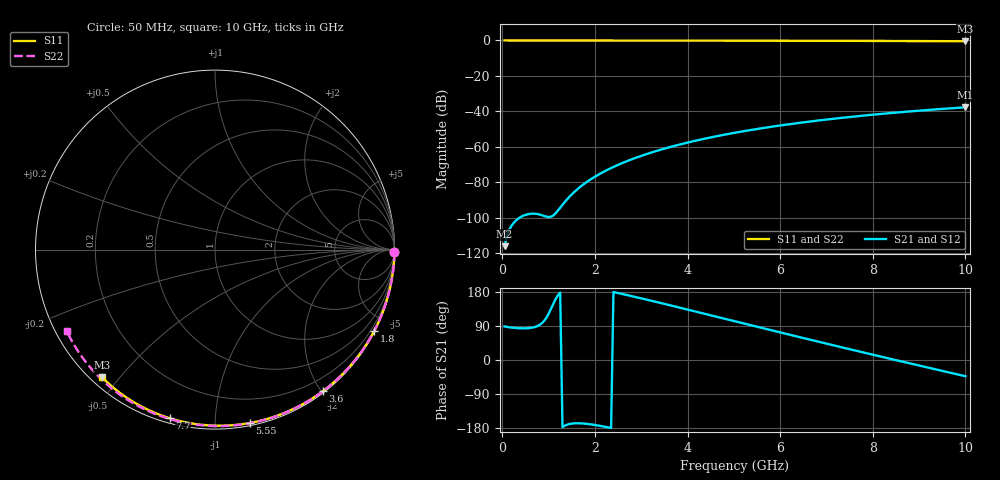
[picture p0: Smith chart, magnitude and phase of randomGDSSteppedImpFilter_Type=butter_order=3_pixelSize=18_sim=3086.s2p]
! freq	dB(S11)	phase(S11)	dB(S12)	phase(S12)
!  dB(S21)	phase(S21)	dB(S22)	phase(S22)
!S-par simulation data
#  GHz  S  DB  R 50
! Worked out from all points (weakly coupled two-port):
!   200 points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, 50 MHz to 10 GHz, reference 50 ohm
!   highest |S21| = -37.74 dB at 10 GHz (marker M1); lowest = -116.1 dB at 50 MHz (marker M2)
!   lowest |S11| = -0.4 dB at 10 GHz (marker M3), VSWR 39.06, Z = 1.54 - j22.5 ohm
!   |S11| at or under -10 dB: nowhere
!   |S22| runs from -0.5 to 0.0 dB; largest |S21 - S12| = 0
!   S11 on the Smith chart (normalised r, x): 50 MHz: open; 1.8 GHz: 0.04, -4.18; 3.6 GHz: 0.02, -2.02; 5.55 GHz: 0.02, -1.22; 7.7 GHz: 0.02, -0.77; 10 GHz: 0.03, -0.45
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0.05  -0.00 -0.8  -116.13 88.5  -116.13 88.5  -0.00 -0.9
0.45  -0.01 -6.8  -98.97 83.5  -98.97 83.5  -0.01 -7.8
0.9  -0.02 -13.6  -99.03 102.6  -99.03 102.6  -0.02 -15.5
1.3  -0.02 -19.6  -92.74 -176.9  -92.74 -176.9  -0.03 -22.4
1.75  -0.03 -26.2  -81.28 -167.6  -81.28 -167.6  -0.04 -29.9
1.8  -0.03 -26.9  -80.33 -168.2  -80.33 -168.2  -0.04 -30.8
1.85  -0.04 -27.7  -79.42 -168.9  -79.42 -168.9  -0.04 -31.6
2  -0.04 -29.9  -76.91 -171.5  -76.91 -171.5  -0.04 -34.1
2.15  -0.04 -32.1  -74.68 -174.6  -74.68 -174.6  -0.05 -36.6
2.5  -0.05 -37.1  -70.23 176.7  -70.23 176.7  -0.05 -42.4
2.9  -0.06 -42.8  -66.07 165.6  -66.07 165.6  -0.06 -48.9
3.4  -0.07 -49.9  -61.81 151.0  -61.81 151.0  -0.08 -56.9
3.6  -0.07 -52.7  -60.33 145.1  -60.33 145.1  -0.08 -60.0
4.3  -0.09 -62.2  -55.85 124.0  -55.85 124.0  -0.10 -70.9
5.05  -0.11 -72.2  -51.97 101.4  -51.97 101.4  -0.13 -82.2
5.55  -0.13 -78.7  -49.77 86.3  -49.77 86.3  -0.15 -89.5
6.1  -0.15 -85.6  -47.64 69.8  -47.64 69.8  -0.17 -97.4
6.7  -0.18 -93.0  -45.58 52.0  -45.58 52.0  -0.21 -105.9
7.7  -0.24 -105.0  -42.68 22.7  -42.68 22.7  -0.28 -119.7
8.35  -0.29 -112.6  -41.06 3.9  -41.06 3.9  -0.33 -128.5
9.2  -0.36 -122.4  -39.23 -20.3  -39.23 -20.3  -0.42 -140.1
10  -0.44 -131.4  -37.74 -42.8  -37.74 -42.8  -0.51 -151.1
